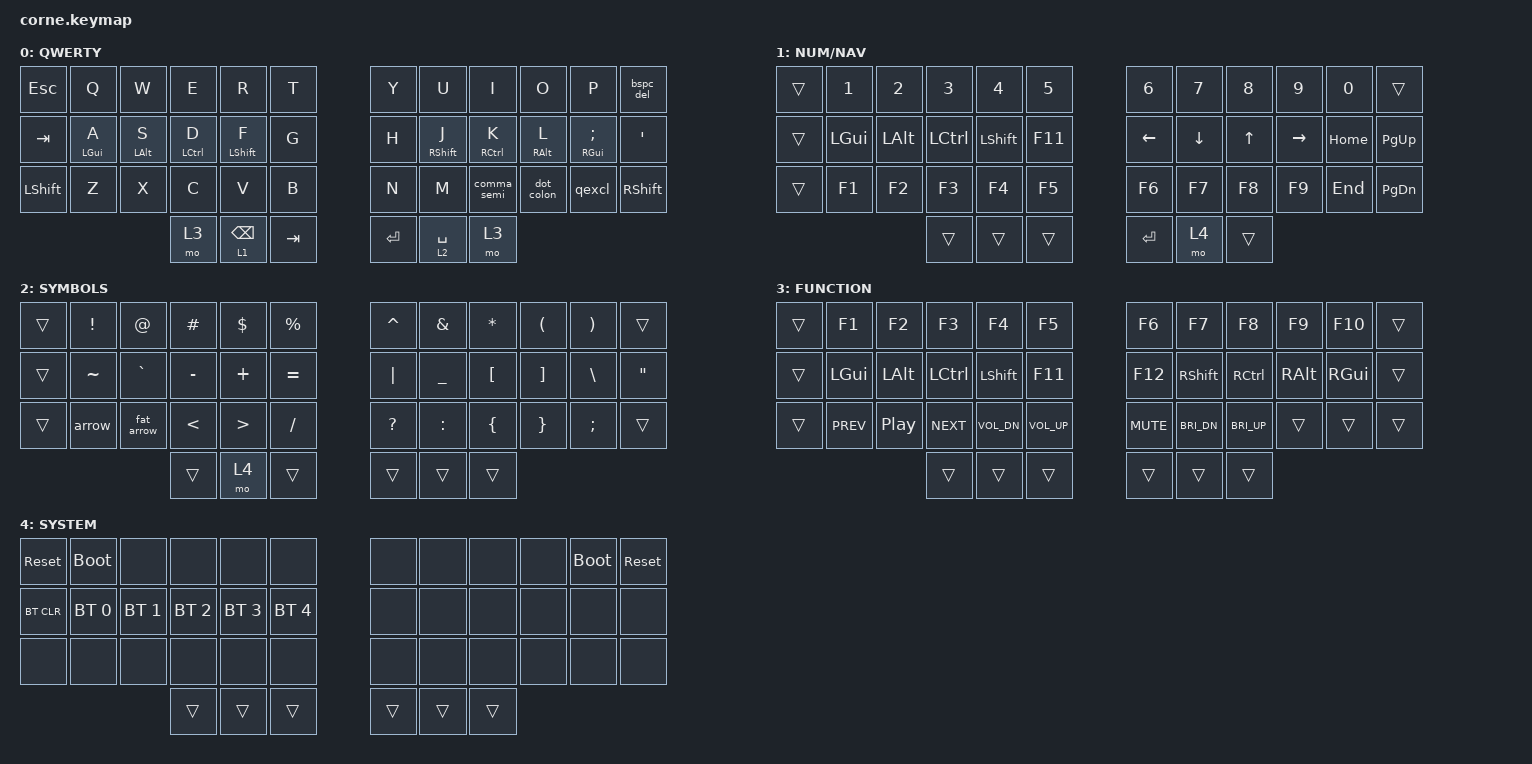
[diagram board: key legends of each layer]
/*
 * Copyright (c) 2020 The ZMK Contributors
 *
 * SPDX-License-Identifier: MIT
 */

#include <behaviors.dtsi>
#include <dt-bindings/zmk/bt.h>
#include <dt-bindings/zmk/keys.h>

/ {
    chosen {
        zmk,matrix_transform = &default_transform;
        // zmk,matrix_transform = &five_column_transform;
    };
};

/ {
    behaviors {
        // Home row mods with balanced timing
        hml: homerow_mods_left {
            compatible = "zmk,behavior-hold-tap";
            label = "HOMEROW_MODS_LEFT";
            bindings = <&kp>, <&kp>;
            #binding-cells = <2>;
            tapping-term-ms = <225>;
            quick-tap-ms = <175>;
            flavor = "balanced";
            hold-trigger-key-positions = <6 7 8 9 10 11 18 19 20 21 22 23 30 31 32 33 34 35>;
            hold-trigger-on-release;
        };

        hmr: homerow_mods_right {
            compatible = "zmk,behavior-hold-tap";
            label = "HOMEROW_MODS_RIGHT";
            bindings = <&kp>, <&kp>;
            #binding-cells = <2>;
            tapping-term-ms = <225>;
            quick-tap-ms = <175>;
            flavor = "balanced";
            hold-trigger-key-positions = <0 1 2 3 4 5 12 13 14 15 16 17 24 25 26 27 28 29>;
            hold-trigger-on-release;
        };

        // Layer tap with longer hold time for comfort
        lt_spc: layer_tap_space {
            compatible = "zmk,behavior-hold-tap";
            label = "LAYER_TAP_SPACE";
            bindings = <&mo>, <&kp>;
            #binding-cells = <2>;
            tapping-term-ms = <225>;
            flavor = "balanced";
        };

        // Shift on hold, backspace on tap
        bspc_del: backspace_delete {
            compatible = "zmk,behavior-mod-morph";
            label = "BACKSPACE_DELETE";
            bindings = <&kp BACKSPACE>, <&kp DELETE>;
            mods = <(MOD_LSFT|MOD_RSFT)>;
            #binding-cells = <0>;
        };

        // Comma/semicolon morph
        comma_semi: comma_semicolon {
            compatible = "zmk,behavior-mod-morph";
            label = "COMMA_SEMICOLON";
            bindings = <&kp COMMA>, <&kp SEMICOLON>;
            mods = <(MOD_LSFT|MOD_RSFT)>;
            #binding-cells = <0>;
        };

        // Dot/colon morph
        dot_colon: dot_colon {
            compatible = "zmk,behavior-mod-morph";
            label = "DOT_COLON";
            bindings = <&kp DOT>, <&kp COLON>;
            mods = <(MOD_LSFT|MOD_RSFT)>;
            #binding-cells = <0>;
        };

        // Question mark / exclamation
        qexcl: question_exclamation {
            compatible = "zmk,behavior-mod-morph";
            label = "QUESTION_EXCLAMATION";
            bindings = <&kp QMARK>, <&kp EXCL>;
            mods = <(MOD_LSFT|MOD_RSFT)>;
            #binding-cells = <0>;
        };
    };

    combos {
        compatible = "zmk,combos";

        // Essential combos on home row and nearby keys
        combo_esc {
            bindings = <&kp ESC>;
            key-positions = <0 1>;
            layers = <0 1>;
        };

        combo_tab {
            bindings = <&kp TAB>;
            key-positions = <12 13>;
            layers = <0 1>;
        };

        combo_caps {
            bindings = <&kp CAPS>;
            key-positions = <13 14 15 16>;
            layers = <0 1>;
        };

        combo_enter {
            bindings = <&kp ENTER>;
            key-positions = <21 22>;
            layers = <0 1>;
        };

        // Bracket pairs
        combo_lpar {
            bindings = <&kp LPAR>;
            key-positions = <2 14>;
            layers = <0 1>;
        };

        combo_rpar {
            bindings = <&kp RPAR>;
            key-positions = <9 21>;
            layers = <0 1>;
        };

        combo_lbkt {
            bindings = <&kp LBKT>;
            key-positions = <1 13>;
            layers = <0 1>;
        };

        combo_rbkt {
            bindings = <&kp RBKT>;
            key-positions = <10 22>;
            layers = <0 1>;
        };

        combo_lbrc {
            bindings = <&kp LBRC>;
            key-positions = <0 12>;
            layers = <0 1>;
        };

        combo_rbrc {
            bindings = <&kp RBRC>;
            key-positions = <11 23>;
            layers = <0 1>;
        };
    };

    macros {
        // Arrow function
        arrow: arrow {
            compatible = "zmk,behavior-macro";
            label = "ARROW";
            #binding-cells = <0>;
            bindings = <&kp SPACE &kp EQUAL &kp GT &kp SPACE>;
        };

        // Fat arrow
        fat_arrow: fat_arrow {
            compatible = "zmk,behavior-macro";
            label = "FAT_ARROW";
            #binding-cells = <0>;
            bindings = <&kp SPACE &kp EQUAL &kp GT &kp GT &kp SPACE>;
        };
    };

    keymap {
        compatible = "zmk,keymap";

        // Layer 0: QWERTY
        default_layer {
            display-name = "QWERTY";
            bindings = <
            //┌────────┬────────┬────────┬────────┬────────┬────────┐   ┌────────┬────────┬────────┬────────┬────────┬────────┐
               &kp ESC    &kp Q    &kp W    &kp E    &kp R    &kp T        &kp Y    &kp U    &kp I    &kp O    &kp P    &bspc_del
            //├────────┼────────┼────────┼────────┼────────┼────────┤   ├────────┼────────┼────────┼────────┼────────┼────────┤
               &kp TAB   &hml LGUI A &hml LALT S &hml LCTRL D &hml LSHFT F &kp G    &kp H    &hmr RSHFT J &hmr RCTRL K &hmr RALT L &hmr RGUI SEMI &kp SQT
            //├────────┼────────┼────────┼────────┼────────┼────────┤   ├────────┼────────┼────────┼────────┼────────┼────────┤
               &kp LSHFT &kp Z    &kp X    &kp C    &kp V    &kp B        &kp N    &kp M    &comma_semi &dot_colon &qexcl   &kp RSHFT
            //╰────────┴────────┴────────┼────────┼────────┼────────┤   ├────────┼────────┼────────┼────────┴────────┴────────╯
                                          &mo 3    &lt_spc 1 BSPC &kp TAB    &kp ENTER &lt_spc 2 SPACE &mo 3
            //                           ╰────────┴────────┴────────╯   ╰────────┴────────┴────────╯
            >;
        };

        // Layer 1: Numbers and Navigation
        numbers_layer {
            display-name = "NUM/NAV";
            bindings = <
            //┌────────┬────────┬────────┬────────┬────────┬────────┐   ┌────────┬────────┬────────┬────────┬────────┬────────┐
               &trans    &kp N1   &kp N2   &kp N3   &kp N4   &kp N5       &kp N6   &kp N7   &kp N8   &kp N9   &kp N0   &trans
            //├────────┼────────┼────────┼────────┼────────┼────────┤   ├────────┼────────┼────────┼────────┼────────┼────────┤
               &trans    &kp LGUI &kp LALT &kp LCTRL &kp LSHFT &kp F11     &kp LEFT &kp DOWN &kp UP   &kp RIGHT &kp HOME &kp PG_UP
            //├────────┼────────┼────────┼────────┼────────┼────────┤   ├────────┼────────┼────────┼────────┼────────┼────────┤
               &trans    &kp F1   &kp F2   &kp F3   &kp F4   &kp F5       &kp F6   &kp F7   &kp F8   &kp F9   &kp END  &kp PG_DN
            //╰────────┴────────┴────────┼────────┼────────┼────────┤   ├────────┼────────┼────────┼────────┴────────┴────────╯
                                          &trans   &trans   &trans       &kp ENTER &mo 4    &trans
            //                           ╰────────┴────────┴────────╯   ╰────────┴────────┴────────╯
            >;
        };

        // Layer 2: Symbols
        symbols_layer {
            display-name = "SYMBOLS";
            bindings = <
            //┌────────┬────────┬────────┬────────┬────────┬────────┐   ┌────────┬────────┬────────┬────────┬────────┬────────┐
               &trans    &kp EXCL &kp AT   &kp HASH &kp DLLR &kp PRCNT    &kp CARET &kp AMPS &kp ASTRK &kp LPAR &kp RPAR &trans
            //├────────┼────────┼────────┼────────┼────────┼────────┤   ├────────┼────────┼────────┼────────┼────────┼────────┤
               &trans    &kp TILDE &kp GRAVE &kp MINUS &kp PLUS &kp EQUAL  &kp PIPE &kp UNDER &kp LBKT &kp RBKT &kp BSLH &kp DQT
            //├────────┼────────┼────────┼────────┼────────┼────────┤   ├────────┼────────┼────────┼────────┼────────┼────────┤
               &trans    &arrow   &fat_arrow &kp LT  &kp GT   &kp FSLH     &kp QMARK &kp COLON &kp LBRC &kp RBRC &kp SEMI &trans
            //╰────────┴────────┴────────┼────────┼────────┼────────┤   ├────────┼────────┼────────┼────────┴────────┴────────╯
                                          &trans   &mo 4    &trans       &trans   &trans   &trans
            //                           ╰────────┴────────┴────────╯   ╰────────┴────────┴────────╯
            >;
        };

        // Layer 3: Function Keys and Media
        function_layer {
            display-name = "FUNCTION";
            bindings = <
            //┌────────┬────────┬────────┬────────┬────────┬────────┐   ┌────────┬────────┬────────┬────────┬────────┬────────┐
               &trans    &kp F1   &kp F2   &kp F3   &kp F4   &kp F5       &kp F6   &kp F7   &kp F8   &kp F9   &kp F10  &trans
            //├────────┼────────┼────────┼────────┼────────┼────────┤   ├────────┼────────┼────────┼────────┼────────┼────────┤
               &trans    &kp LGUI &kp LALT &kp LCTRL &kp LSHFT &kp F11     &kp F12  &kp RSHFT &kp RCTRL &kp RALT &kp RGUI &trans
            //├────────┼────────┼────────┼────────┼────────┼────────┤   ├────────┼────────┼────────┼────────┼────────┼────────┤
               &trans    &kp C_PREV &kp C_PLAY_PAUSE &kp C_NEXT &kp C_VOL_DN &kp C_VOL_UP  &kp C_MUTE &kp C_BRI_DN &kp C_BRI_UP &trans &trans &trans
            //╰────────┴────────┴────────┼────────┼────────┼────────┤   ├────────┼────────┼────────┼────────┴────────┴────────╯
                                          &trans   &trans   &trans       &trans   &trans   &trans
            //                           ╰────────┴────────┴────────╯   ╰────────┴────────┴────────╯
            >;
        };

        // Layer 4: System and Bluetooth
        system_layer {
            display-name = "SYSTEM";
            bindings = <
            //┌────────┬────────┬────────┬────────┬────────┬────────┐   ┌────────┬────────┬────────┬────────┬────────┬────────┐
               &sys_reset &bootloader &none   &none    &none    &none       &none    &none    &none    &none    &bootloader &sys_reset
            //├────────┼────────┼────────┼────────┼────────┼────────┤   ├────────┼────────┼────────┼────────┼────────┼────────┤
               &bt BT_CLR &bt BT_SEL 0 &bt BT_SEL 1 &bt BT_SEL 2 &bt BT_SEL 3 &bt BT_SEL 4  &none &none &none &none &none &none
            //├────────┼────────┼────────┼────────┼────────┼────────┤   ├────────┼────────┼────────┼────────┼────────┼────────┤
               &none     &none    &none    &none    &none    &none        &none    &none    &none    &none    &none    &none
            //╰────────┴────────┴────────┼────────┼────────┼────────┤   ├────────┼────────┼────────┼────────┴────────┴────────╯
                                          &trans   &trans   &trans       &trans   &trans   &trans
            //                           ╰────────┴────────┴────────╯   ╰────────┴────────┴────────╯
            >;
        };
    };

    conditional_layers {
        compatible = "zmk,conditional-layers";
        tri_layer {
            if-layers = <1 2>;
            then-layer = <4>;
        };
    };
};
